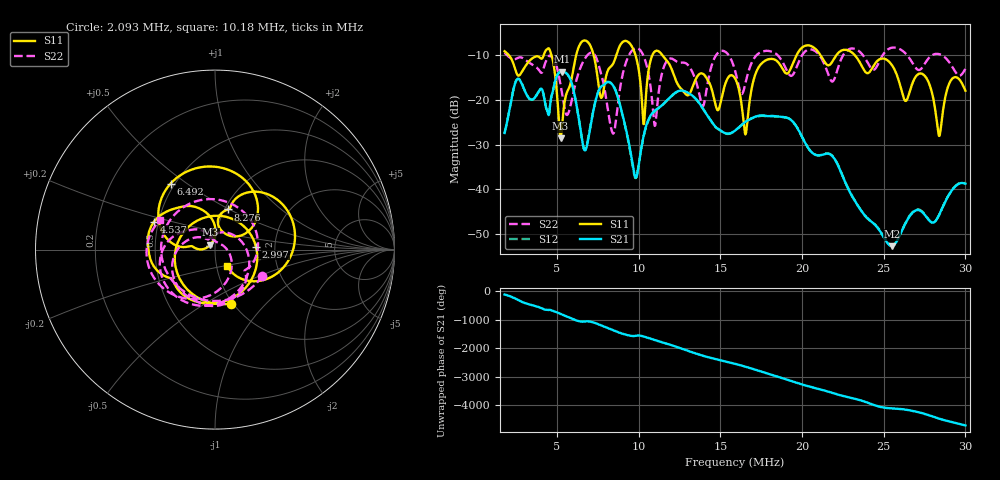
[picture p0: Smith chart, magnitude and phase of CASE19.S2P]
!Agilent Technologies,E5061B,MY49101568,A.02.00
!Date: Wed Mar 01 14:03:11 2023
!Data & Calibration Information:
!Freq	S11:SOLT2(OFF)	S21:SOLT2(OFF)	S12:SOLT2(OFF)	S22:SOLT2(OFF)
# Hz S dB R 50
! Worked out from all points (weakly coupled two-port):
!   1155 points, 1.8 MHz to 30 MHz, reference 50 ohm
!   highest |S21| = -13.64 dB at 5.319 MHz (marker M1); lowest = -52.8 dB at 25.5 MHz (marker M2)
!   lowest |S11| = -28.6 dB at 5.221 MHz (marker M3), VSWR 1.08, Z = 47.4 + j2.56 ohm
!   |S11| at or under -10 dB: 2.074 MHz to 4.187 MHz (2.112 MHz wide, 67.5 % of centre); 11.47 MHz to 19.66 MHz (8.193 MHz wide, 52.6 % of centre); 23.24 MHz to end of sweep (the widest 3 of 7)
!   |S22| runs from -27.5 to -8.2 dB; largest |S21 - S12| = 0.0031
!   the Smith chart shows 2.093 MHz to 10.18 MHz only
!   S11 on the Smith chart (normalised r, x): 2.093 MHz: 0.98, -0.65; 2.997 MHz: 1.59, +0.06; 4.537 MHz: 0.47, +0.17; 6.492 MHz: 0.48, +0.43; 8.276 MHz: 1.04, +0.49; 10.18 MHz: 1.12, -0.20
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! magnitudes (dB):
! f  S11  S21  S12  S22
! 1.8 MHz  -9.1  -27.4  -27.3  -9.4
! 2.093 MHz  -10.1  -22.2  -22.3  -10.4
! 2.997 MHz  -12.8  -17.6  -17.6  -10.8
! 4.537 MHz  -8.5  -22.7  -22.6  -10.1
! 5.221 MHz  -28.6  -13.7  -13.7  -16.5
! 5.319 MHz  -25.6  -13.6  -13.7  -18.6
! 6.492 MHz  -7.1  -27.9  -27.9  -12.3
! 6.516 MHz  -7.0  -28.4  -28.5  -12.1
! 7.372 MHz  -12.1  -20.1  -20.0  -10.2
! 8.276 MHz  -12.6  -16.1  -16.1  -25.6
! 9.424 MHz  -7.2  -30.0  -30.4  -9.9
! 10.18 MHz  -19.0  -30.5  -30.5  -9.2
! 11.21 MHz  -9.0  -21.8  -21.9  -18.9
! 14.82 MHz  -22.2  -26.4  -26.4  -9.6
! 15.9 MHz  -15.1  -26.9  -26.9  -13.4
! 16.54 MHz  -27.7  -24.9  -24.9  -16.3
! 17.46 MHz  -12.1  -23.5  -23.6  -9.3
! 20.62 MHz  -8.0  -31.8  -31.8  -8.7
! 25.31 MHz  -11.3  -52.4  -52.2  -8.5
! 25.5 MHz  -12.2  -52.8  -52.6  -8.3
! 28.39 MHz  -28.1  -45.8  -45.8  -9.7
! 30 MHz  -17.9  -38.8  -38.7  -13.0
